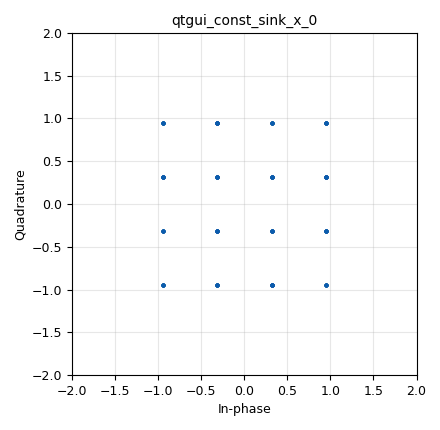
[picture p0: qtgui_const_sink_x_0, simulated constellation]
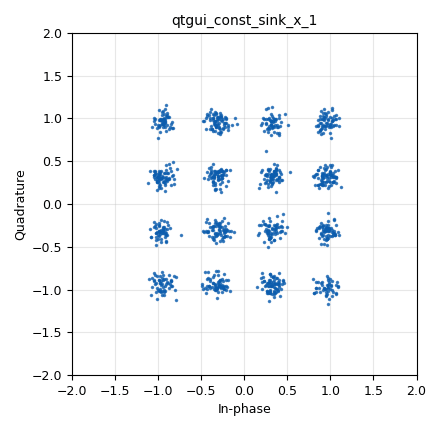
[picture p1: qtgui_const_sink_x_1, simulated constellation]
options:
  parameters:
    author: Akash Shaw | Ansul Jain
    generate_options: qt_gui
    id: Q2
    output_language: python
    title: Not titled yet
  states: {}

blocks:
- name: const
  id: variable_constellation
  parameters:
    precision: '8'
    type: 16qam
  states: {}
- name: samp_rate
  id: variable
  parameters:
    value: '32000'
  states: {}
- name: analog_random_source_x_0
  id: analog_random_source_x
  parameters:
    max: '16'
    min: '0'
    num_samps: '10000'
    repeat: 'True'
    type: int
  states: {}
- name: channels_channel_model_0
  id: channels_channel_model
  parameters:
    epsilon: '1'
    freq_offset: '0.0'
    noise_voltage: '0.1'
    seed: '0'
    taps: '1'
  states: {}
- name: digital_chunks_to_symbols_xx_0
  id: digital_chunks_to_symbols_xx
  parameters:
    dimension: '1'
    in_type: int
    out_type: complex
    symbol_table: const.points()
  states: {}
- name: qtgui_const_sink_x_0
  id: qtgui_const_sink_x
  parameters:
    size: '1024'
    type: complex
  states: {}
- name: qtgui_const_sink_x_1
  id: qtgui_const_sink_x
  parameters:
    size: '1024'
    type: complex
  states: {}

connections:
- [analog_random_source_x_0, '0', digital_chunks_to_symbols_xx_0, '0']
- [channels_channel_model_0, '0', qtgui_const_sink_x_1, '0']
- [digital_chunks_to_symbols_xx_0, '0', channels_channel_model_0, '0']
- [digital_chunks_to_symbols_xx_0, '0', qtgui_const_sink_x_0, '0']

metadata:
  file_format: 1
  grc_version: 3.10.12.0
